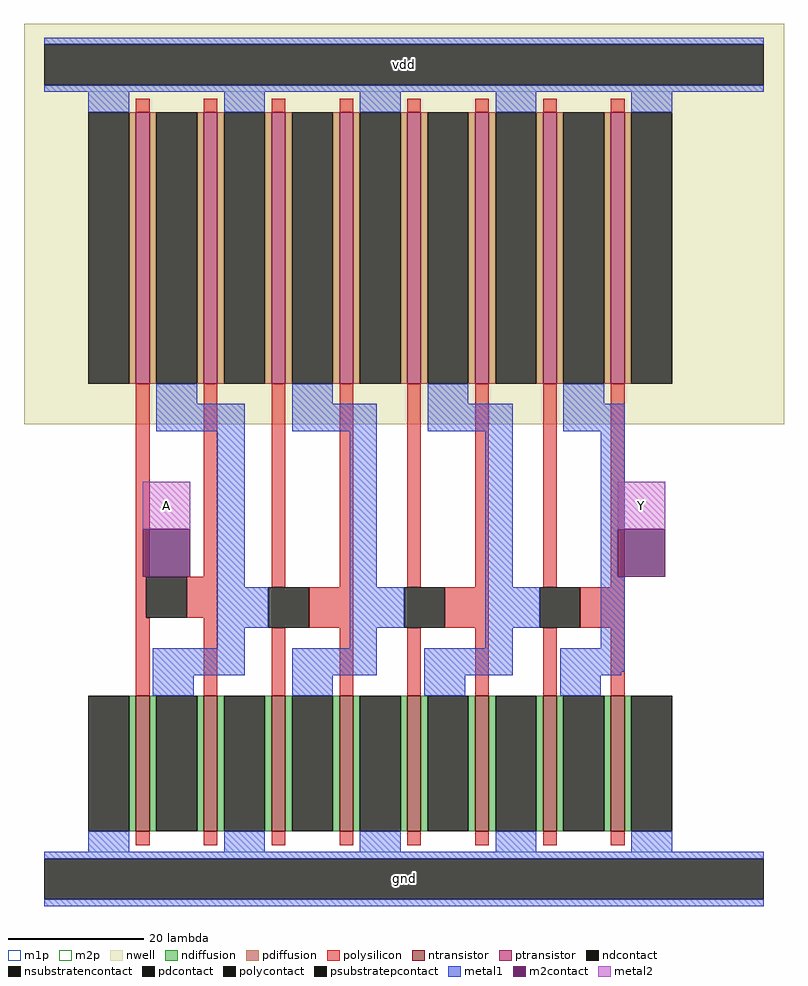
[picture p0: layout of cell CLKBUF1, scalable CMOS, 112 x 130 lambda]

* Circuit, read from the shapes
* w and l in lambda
.subckt CLKBUF1 A Y vdd gnd
M1 n1 A gnd gnd nfet w=20 l=2 m=2
M2 n2 n1 gnd gnd nfet w=20 l=2 m=2
M3 n3 n2 gnd gnd nfet w=20 l=2 m=2
M4 Y n3 gnd gnd nfet w=20 l=2 m=2
M5 n1 A vdd vdd pfet w=40 l=2 m=2
M6 n2 n1 vdd vdd pfet w=40 l=2 m=2
M7 n3 n2 vdd vdd pfet w=40 l=2 m=2
M8 Y n3 vdd vdd pfet w=40 l=2 m=2
.ends

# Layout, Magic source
magic
tech scmos
magscale 1 2
<< nwell >>
rect -12 134 212 252
<< ntransistor >>
rect 21 14 25 54
rect 41 14 45 54
rect 61 14 65 54
rect 81 14 85 54
rect 101 14 105 54
rect 121 14 125 54
rect 141 14 145 54
rect 161 14 165 54
<< ptransistor >>
rect 21 146 25 226
rect 41 146 45 226
rect 61 146 65 226
rect 81 146 85 226
rect 101 146 105 226
rect 121 146 125 226
rect 141 146 145 226
rect 161 146 165 226
<< ndiffusion >>
rect 19 14 21 54
rect 25 14 27 54
rect 39 14 41 54
rect 45 14 47 54
rect 59 14 61 54
rect 65 14 67 54
rect 79 14 81 54
rect 85 14 87 54
rect 99 14 101 54
rect 105 14 107 54
rect 119 14 121 54
rect 125 14 127 54
rect 139 14 141 54
rect 145 14 147 54
rect 159 14 161 54
rect 165 14 167 54
<< pdiffusion >>
rect 19 146 21 226
rect 25 146 27 226
rect 39 146 41 226
rect 45 146 47 226
rect 59 146 61 226
rect 65 146 67 226
rect 79 146 81 226
rect 85 146 87 226
rect 99 146 101 226
rect 105 146 107 226
rect 119 146 121 226
rect 125 146 127 226
rect 139 146 141 226
rect 145 146 147 226
rect 159 146 161 226
rect 165 146 167 226
<< ndcontact >>
rect 7 14 19 54
rect 27 14 39 54
rect 47 14 59 54
rect 67 14 79 54
rect 87 14 99 54
rect 107 14 119 54
rect 127 14 139 54
rect 147 14 159 54
rect 167 14 179 54
<< pdcontact >>
rect 7 146 19 226
rect 27 146 39 226
rect 47 146 59 226
rect 67 146 79 226
rect 87 146 99 226
rect 107 146 119 226
rect 127 146 139 226
rect 147 146 159 226
rect 167 146 179 226
<< psubstratepcontact >>
rect -6 -6 206 6
<< nsubstratencontact >>
rect -6 234 206 246
<< polysilicon >>
rect 21 226 25 230
rect 41 226 45 230
rect 61 226 65 230
rect 81 226 85 230
rect 101 226 105 230
rect 121 226 125 230
rect 141 226 145 230
rect 161 226 165 230
rect 21 89 25 146
rect 41 89 45 146
rect 21 77 24 89
rect 36 77 45 89
rect 61 86 65 146
rect 81 86 85 146
rect 101 86 105 146
rect 121 86 125 146
rect 141 86 145 146
rect 161 86 165 146
rect 21 54 25 77
rect 41 54 45 77
rect 72 74 85 86
rect 112 74 125 86
rect 152 74 165 86
rect 61 54 65 74
rect 81 54 85 74
rect 101 54 105 74
rect 121 54 125 74
rect 141 54 145 74
rect 161 54 165 74
rect 21 10 25 14
rect 41 10 45 14
rect 61 10 65 14
rect 81 10 85 14
rect 101 10 105 14
rect 121 10 125 14
rect 141 10 145 14
rect 161 10 165 14
<< polycontact >>
rect 24 77 36 89
rect 60 74 72 86
rect 100 74 112 86
rect 140 74 152 86
<< metal1 >>
rect -6 246 206 248
rect -6 232 206 234
rect 7 226 19 232
rect 47 226 59 232
rect 87 226 99 232
rect 127 226 139 232
rect 167 226 179 232
rect 27 140 39 146
rect 67 140 79 146
rect 107 140 119 146
rect 147 140 159 146
rect 27 132 53 140
rect 67 132 92 140
rect 107 132 132 140
rect 147 132 165 140
rect 45 86 53 132
rect 84 86 92 132
rect 124 86 132 132
rect 158 103 165 132
rect 158 89 163 103
rect 45 74 60 86
rect 84 74 100 86
rect 124 74 140 86
rect 45 68 53 74
rect 84 68 92 74
rect 124 68 132 74
rect 158 68 165 89
rect 26 60 53 68
rect 67 60 92 68
rect 106 60 132 68
rect 146 61 165 68
rect 146 60 164 61
rect 26 54 38 60
rect 67 54 79 60
rect 106 54 118 60
rect 146 54 158 60
rect 7 8 19 14
rect 47 8 59 14
rect 87 8 99 14
rect 127 8 139 14
rect 167 8 179 14
rect -6 6 206 8
rect -6 -8 206 -6
<< m2contact >>
rect 23 89 37 103
rect 163 89 177 103
<< metal2 >>
rect 23 103 37 117
rect 163 103 177 117
<< m1p >>
rect -6 232 206 248
rect -6 -8 206 8
<< m2p >>
rect 23 103 37 117
rect 163 103 177 117
<< labels >>
rlabel metal1 -6 -8 206 8 0 gnd
port 3 nsew ground bidirectional abutment
rlabel metal1 -6 232 206 248 0 vdd
port 2 nsew power bidirectional abutment
rlabel metal2 23 103 37 117 0 A
port 0 nsew signal input
rlabel metal2 163 103 177 117 0 Y
port 1 nsew signal output
<< properties >>
string FIXED_BBOX 0 0 200 240
string LEFclass CORE
string LEFsite core
string LEFsymmetry X Y
<< end >>
